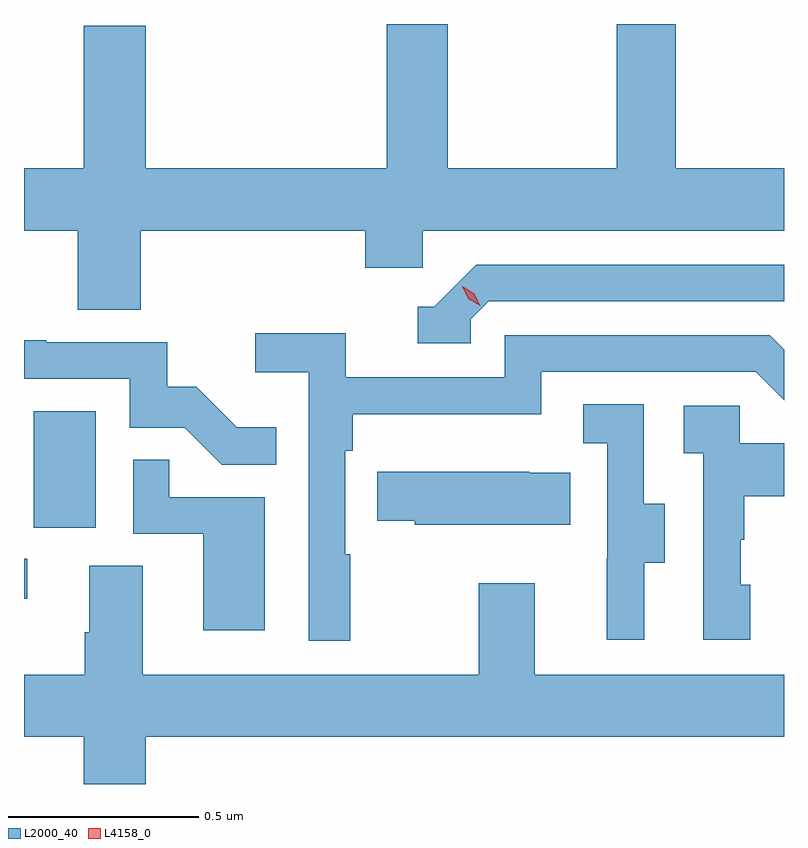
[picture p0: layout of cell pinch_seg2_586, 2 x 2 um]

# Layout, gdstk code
import gdstk
lib = gdstk.Library(unit=1e-6, precision=1e-09)
def R(c, l, rs):  # rectangles x0, y0, x1, y1
    for r in rs: c.add(gdstk.rectangle(r[:2], r[2:], *l))
def P(c, l, *ps):  # polygons
    for p in ps: c.add(gdstk.Polygon(p, *l))
L2000_40 = (2000, 40)
L4158_0 = (4158, 0)

pinch_seg2_586 = lib.new_cell('pinch_seg2_586')
R(pinch_seg2_586, L2000_40, [(1141.873,617.364,1141.882,617.469), (1141.898,617.55,1142.062,617.857)])
P(pinch_seg2_586, L2000_40, [(1142.18,618.332),(1142.771,618.332),(1142.771,618.234),(1142.922,618.234),(1142.922,618.332),(1143.873,618.332),(1143.873,618.496),(1143.588,618.496),(1143.588,618.876),(1143.433,618.876),(1143.433,618.496),(1142.988,618.496),(1142.988,618.876),(1142.828,618.876),(1142.828,618.496),(1142.194,618.496),(1142.194,618.871),(1142.03,618.871),(1142.03,618.496),(1141.873,618.496),(1141.873,618.332),(1142.015,618.332),(1142.015,618.124),(1142.18,618.124)],
  [(1143.048,618.099),(1143.096,618.147),(1143.873,618.147),(1143.873,618.243),(1143.063,618.243),(1142.952,618.132),(1142.909,618.132),(1142.909,618.036),(1143.048,618.036)],
  [(1142.731,617.48),(1142.718,617.48),(1142.718,617.753),(1142.738,617.753),(1142.738,617.849),(1143.234,617.849),(1143.234,617.961),(1143.798,617.961),(1143.873,617.886),(1143.873,618.019),(1143.835,618.057),(1143.138,618.057),(1143.138,617.946),(1142.72,617.946),(1142.72,618.062),(1142.481,618.062),(1142.481,617.96),(1142.622,617.96),(1142.622,617.253),(1142.731,617.253)],
  [(1142.537,617.815),(1142.433,617.815),(1142.326,617.922),(1142.25,617.922),(1142.25,618.039),(1141.931,618.039),(1141.931,618.044),(1141.873,618.044),(1141.873,617.943),(1142.151,617.943),(1142.151,617.814),(1142.296,617.814),(1142.394,617.716),(1142.537,617.716)],
  [(1143.505,617.458),(1143.559,617.458),(1143.559,617.613),(1143.504,617.613),(1143.504,617.876),(1143.345,617.876),(1143.345,617.773),(1143.408,617.773),(1143.408,617.469),(1143.407,617.469),(1143.407,617.256),(1143.505,617.256)],
  [(1143.784,617.4),(1143.759,617.4),(1143.759,617.519),(1143.769,617.519),(1143.769,617.633),(1143.873,617.633),(1143.873,617.773),(1143.756,617.773),(1143.756,617.871),(1143.609,617.871),(1143.609,617.747),(1143.66,617.747),(1143.66,617.256),(1143.784,617.256)],
  [(1142.506,617.631),(1142.255,617.631),(1142.255,617.729),(1142.16,617.729),(1142.16,617.535),(1142.345,617.535),(1142.345,617.28),(1142.506,617.28)],
  [(1143.311,617.695),(1143.203,617.695),(1143.203,617.698),(1142.803,617.698),(1142.803,617.569),(1142.901,617.569),(1142.901,617.558),(1143.311,617.558)],
  [(1142.194,617),(1143.873,617),(1143.873,617.164),(1143.217,617.164),(1143.217,617.404),(1143.07,617.404),(1143.07,617.164),(1142.185,617.164),(1142.185,617.45),(1142.045,617.45),(1142.045,617.276),(1142.033,617.276),(1142.033,617.164),(1141.873,617.164),(1141.873,617),(1142.03,617),(1142.03,616.876),(1142.194,616.876)])
P(pinch_seg2_586, L4158_0, [(1143.073,618.134),(1143.042,618.153),(1143.026,618.186),(1143.026,618.186),(1143.026,618.186),(1143.057,618.167),(1143.073,618.135),(1143.073,618.134)])

lib.write_gds('pinch_seg2_586.gds')
